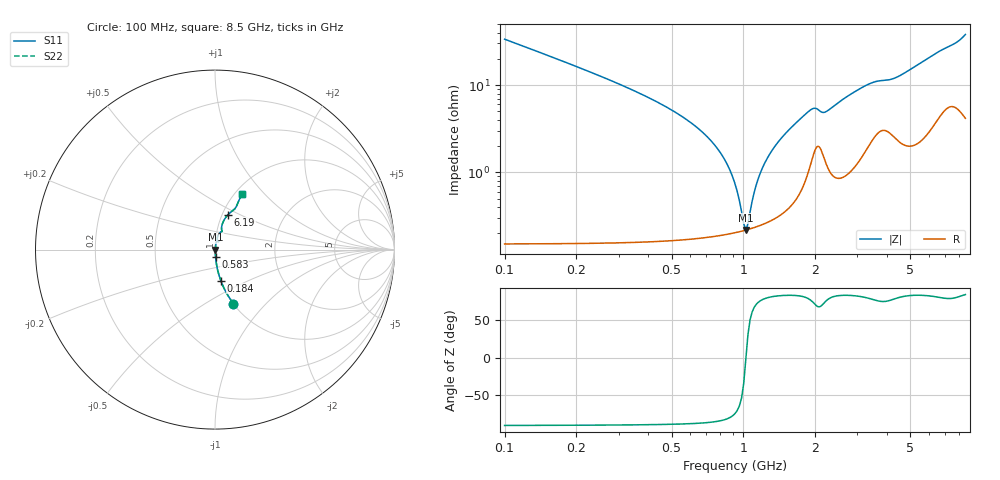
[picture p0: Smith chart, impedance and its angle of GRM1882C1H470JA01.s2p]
!Murata Part Number: GRM1882C1H470JA01
!These Parameters are Measured in Series Mode Connection
!Data Generated on Mar 30, 2021
!  o--ll--o
!Port1  Port2
!  o------o
!Operation Temp=25[degC], DC Bias Voltage=0[V]
!Freq. Start=100[MHz] Stop=9[GHz] 401[Steps]
# Hz S RI R 50
!Freq.(Hz) S11(Real) S11(Imag) S21(Real) S21(Imag) S12(Real) S12(Imag) S22(Real) S22(Imag)
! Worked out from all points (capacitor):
!   401 points, 100 MHz to 8.5 GHz, reference 50 ohm
!   read as one part in series: C = 47 pF near 142 MHz
!   lowest |Z| = 219 mohm at 1.024 GHz (marker M1)
!   series resonance near 1.025 GHz, so ESL is about 510 pH
!   S11 on the Smith chart (normalised r, x): 100 MHz: 1.00, -0.67; 184 MHz: 1.00, -0.36; 583 MHz: 1.00, -0.08; 6.19 GHz: 1.07, +0.43; 8.5 GHz: 1.08, +0.76
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1e8  0.1022 -0.3007  0.8978 0.3007  0.8978 0.3007  0.1022 -0.3007
1.84e8  0.0322 -0.1722  0.9678 0.1722  0.9678 0.1722  0.0322 -0.1722
3.31e8  0.00989 -0.0908  0.9901 0.0908  0.9901 0.0908  0.00989 -0.0908
5.83e8  0.00326 -0.0394  0.9967 0.0394  0.9967 0.0394  0.00326 -0.0394
8.35e8  0.00212 -0.0138  0.9979 0.0138  0.9979 0.0138  0.00212 -0.0138
9.19e8  0.00208 -0.00731  0.9979 0.00731  0.9979 0.00731  0.00208 -0.00731
9.82e8  0.00212 -0.00286  0.9979 0.00286  0.9979 0.00286  0.00212 -0.00286
1.024e9  0.00218 -3.49e-05  0.9978 3.49e-05  0.9978 3.49e-05  0.00218 -3.49e-05
1.045e9  0.00222 0.00134  0.9978 -0.00134  0.9978 -0.00134  0.00222 0.00134
1.129e9  0.00241 0.00661  0.9976 -0.00661  0.9976 -0.00661  0.00241 0.00661
1.213e9  0.00268 0.0116  0.9973 -0.0116  0.9973 -0.0116  0.00268 0.0116
1.339e9  0.00325 0.0187  0.9968 -0.0187  0.9968 -0.0187  0.00325 0.0187
1.507e9  0.00439 0.0278  0.9956 -0.0278  0.9956 -0.0278  0.00439 0.0278
1.927e9  0.0157 0.0496  0.9843 -0.0496  0.9843 -0.0496  0.0157 0.0496
2.2e9  0.0154 0.0459  0.9846 -0.0459  0.9846 -0.0459  0.0154 0.0459
2.914e9  0.0178 0.0803  0.9822 -0.0803  0.9822 -0.0803  0.0178 0.0803
3.481e9  0.0333 0.0987  0.9667 -0.0987  0.9667 -0.0987  0.0333 0.0987
4.3e9  0.037 0.1105  0.963 -0.1105  0.963 -0.1105  0.037 0.1105
5.707e9  0.0562 0.1738  0.9438 -0.1738  0.9438 -0.1738  0.0562 0.1738
6.19e9  0.0726 0.1945  0.9274 -0.1945  0.9274 -0.1945  0.0726 0.1945
7.114e9  0.1075 0.2243  0.8925 -0.2243  0.8925 -0.2243  0.1075 0.2243
8.5e9  0.1515 0.3076  0.8485 -0.3076  0.8485 -0.3076  0.1515 0.3076
